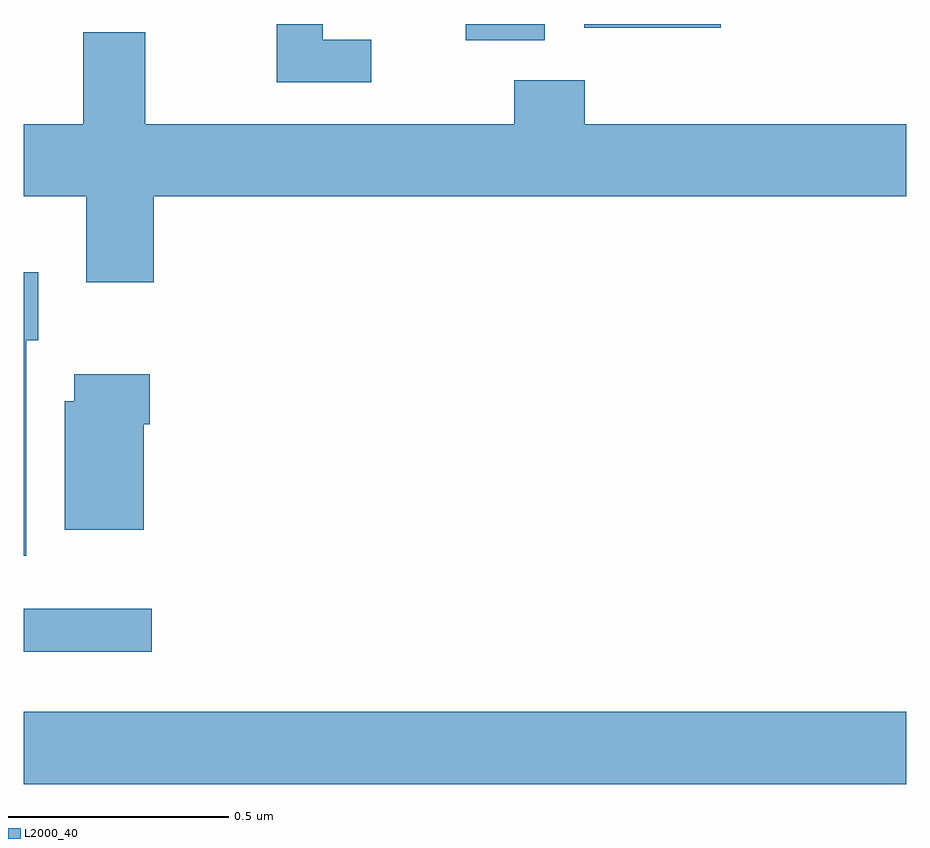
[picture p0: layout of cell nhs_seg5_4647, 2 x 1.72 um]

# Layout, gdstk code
import gdstk
lib = gdstk.Library(unit=1e-6, precision=1e-09)
def R(c, l, rs):  # rectangles x0, y0, x1, y1
    for r in rs: c.add(gdstk.rectangle(r[:2], r[2:], *l))
def P(c, l, *ps):  # polygons
    for p in ps: c.add(gdstk.Polygon(p, *l))
L2000_40 = (2000, 40)

nhs_seg5_4647 = lib.new_cell('nhs_seg5_4647')
R(nhs_seg5_4647, L2000_40, [(173,874.076,175,874.24), (173,874.376,173.29,874.473), (174.002,875.762,174.181,875.799), (174.27,875.791,174.58,875.799)])
P(nhs_seg5_4647, L2000_40, [(173.788,875.763),(173.677,875.763),(173.677,875.799),(173.573,875.799),(173.573,875.667),(173.788,875.667)],
  [(173.294,875.408),(175,875.408),(175,875.572),(174.272,875.572),(174.272,875.671),(174.112,875.671),(174.112,875.572),(173.275,875.572),(173.275,875.78),(173.135,875.78),(173.135,875.572),(173,875.572),(173,875.408),(173.141,875.408),(173.141,875.214),(173.294,875.214)],
  [(173.005,875.082),(173.032,875.082),(173.032,875.236),(173,875.236),(173,874.593),(173.005,874.593)],
  [(173.272,874.892),(173.285,874.892),(173.285,875.005),(173.114,875.005),(173.114,874.944),(173.093,874.944),(173.093,874.652),(173.272,874.652)])

lib.write_gds('nhs_seg5_4647.gds')
